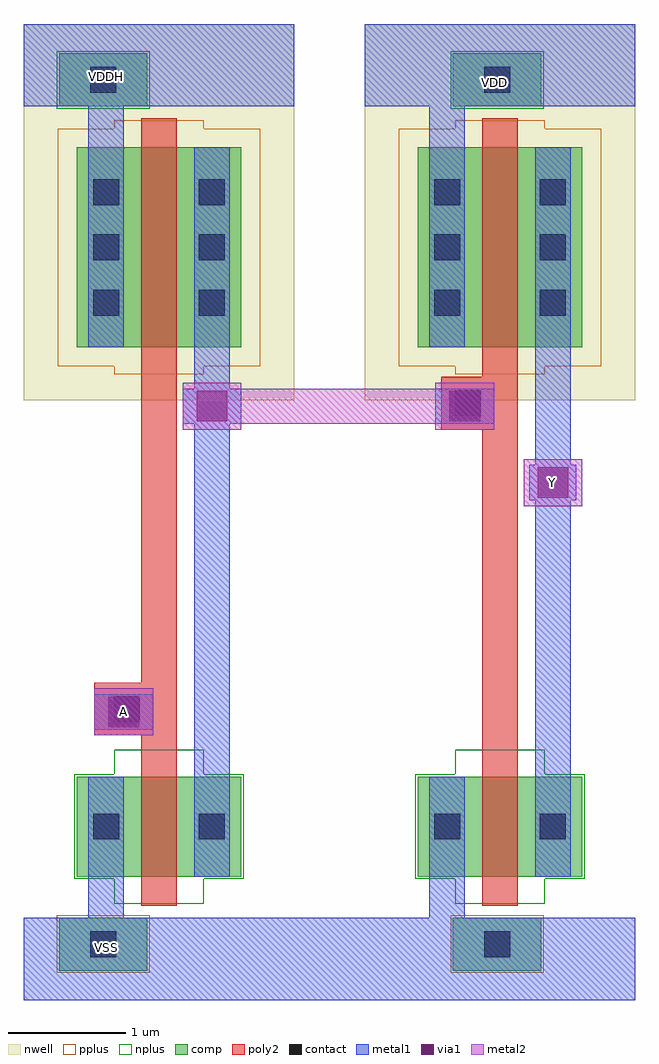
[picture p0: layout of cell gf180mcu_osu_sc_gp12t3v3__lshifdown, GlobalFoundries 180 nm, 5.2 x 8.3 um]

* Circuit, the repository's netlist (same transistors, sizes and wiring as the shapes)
* Copyright 2022 Google LLC
*
* Licensed under the Apache License, Version 2.0 (the "License");
* you may not use this file except in compliance with the License.
* You may obtain a copy of the License at
*
*      http://www.apache.org/licenses/LICENSE-2.0
*
* Unless required by applicable law or agreed to in writing, software
* distributed under the License is distributed on an "AS IS" BASIS,
* WITHOUT WARRANTIES OR CONDITIONS OF ANY KIND, either express or implied.
* See the License for the specific language governing permissions and
* limitations under the License.

* NGSPICE file created from gf180mcu_osu_sc_gp12t3v3__lshifdown.ext - technology: gf180mcuC

.subckt gf180mcu_osu_sc_gp12t3v3__lshifdown A Y VDDH VDD VSS
X0 a_26_21# A VDDH VDDH pfet_03p3 w=1.7u l=0.3u
X1 Y a_26_21# VSS VSS nfet_03p3 w=0.85u l=0.3u
X2 Y a_26_21# VDD VDD pfet_03p3 w=1.7u l=0.3u
X3 a_26_21# A VSS VSS nfet_03p3 w=0.85u l=0.3u
.ends

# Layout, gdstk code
import gdstk
lib = gdstk.Library(unit=1e-6, precision=1e-09)
def R(c, l, rs):  # rectangles x0, y0, x1, y1
    for r in rs: c.add(gdstk.rectangle(r[:2], r[2:], *l))
def A(c, l, x, y, w, h, nx, ny, dx, dy):  # array of equal rectangles
    R(c, l, [(x+i*dx, y+j*dy, x+i*dx+w, y+j*dy+h) for i in range(nx) for j in range(ny)])
nwell = (21, 0)
comp = (22, 0)
poly2 = (30, 0)
pplus = (31, 0)
nplus = (32, 0)
contact = (33, 0)
metal1 = (34, 0)
via1 = (35, 0)
metal2 = (36, 0)

gf180mcu_osu_sc_gp12t3v3 = lib.new_cell('gf180mcu_osu_sc_gp12t3v3__lshifdown')
R(gf180mcu_osu_sc_gp12t3v3, nwell, [(0,5.1,2.3,8.3), (2.9,5.1,5.2,8.3)])
R(gf180mcu_osu_sc_gp12t3v3, comp, [(0.3,0.25,1.05,0.7), (3.65,0.25,4.4,0.7), (0.45,1.05,1.85,1.9), (3.35,1.05,4.75,1.9), (0.45,5.55,1.85,7.25), (3.35,5.55,4.75,7.25), (0.3,7.6,1.05,8.05), (3.65,7.6,4.4,8.05)])
R(gf180mcu_osu_sc_gp12t3v3, poly2, [(1,0.8,1.3,2.25), (3.9,0.8,4.2,4.85), (0.6,2.25,1.3,2.7), (1,2.7,1.3,7.5), (3.55,4.85,4.2,5.3), (3.9,5.3,4.2,7.5)])
R(gf180mcu_osu_sc_gp12t3v3, pplus, [(0.28,0.23,1.07,0.72), (3.63,0.23,4.42,0.72), (0.77,5.32,1.53,5.39), (3.67,5.32,4.43,5.39), (0.29,5.39,2.01,7.41), (3.19,5.39,4.91,7.41), (0.77,7.41,1.53,7.48), (3.67,7.41,4.43,7.48)])
R(gf180mcu_osu_sc_gp12t3v3, nplus, [(0.77,0.82,1.53,1.03), (3.67,0.82,4.43,1.03), (0.43,1.03,1.87,1.92), (3.33,1.03,4.77,1.92), (0.77,1.92,1.53,2.13), (3.67,1.92,4.43,2.13), (0.28,7.58,1.07,8.07), (3.63,7.58,4.42,8.07)])
A(gf180mcu_osu_sc_gp12t3v3, contact, 0.59, 5.82, 0.22, 0.22, 1, 3, 0, 0.47)
A(gf180mcu_osu_sc_gp12t3v3, contact, 1.49, 5.82, 0.22, 0.22, 1, 3, 0, 0.47)
A(gf180mcu_osu_sc_gp12t3v3, contact, 3.49, 5.82, 0.22, 0.22, 1, 3, 0, 0.47)
A(gf180mcu_osu_sc_gp12t3v3, contact, 4.39, 5.82, 0.22, 0.22, 1, 3, 0, 0.47)
R(gf180mcu_osu_sc_gp12t3v3, contact, [(0.565,0.365,0.785,0.585), (3.915,0.365,4.135,0.585), (0.59,1.365,0.81,1.585), (1.49,1.365,1.71,1.585), (3.49,1.365,3.71,1.585), (4.39,1.365,4.61,1.585), (0.765,2.365,0.985,2.585), (3.665,4.965,3.885,5.185), (0.565,7.715,0.785,7.935), (3.915,7.715,4.135,7.935)])
R(gf180mcu_osu_sc_gp12t3v3, metal1, [(0,0,5.2,0.7), (0.55,0.7,0.85,1.9), (3.45,0.7,3.75,1.9), (1.45,1.05,1.75,4.9), (4.35,1.05,4.65,4.25), (0.6,2.3,1.1,2.6), (4.3,4.25,4.7,4.55), (4.35,4.55,4.65,7.25), (1.35,4.9,1.85,5.2), (3.5,4.9,4,5.2), (1.45,5.2,1.75,7.25), (0.55,5.55,0.85,7.6), (3.45,5.55,3.75,7.6), (0,7.6,2.3,8.3), (2.9,7.6,5.2,8.3)])
R(gf180mcu_osu_sc_gp12t3v3, via1, [(0.72,2.32,0.98,2.58), (4.37,4.27,4.63,4.53), (1.47,4.92,1.73,5.18), (3.62,4.92,3.88,5.18)])
R(gf180mcu_osu_sc_gp12t3v3, metal2, [(0.6,2.25,1.1,2.65), (4.25,4.2,4.75,4.6), (1.35,4.85,1.85,4.9), (3.5,4.85,4,4.9), (1.35,4.9,4,5.2), (1.35,5.2,1.85,5.25), (3.5,5.2,4,5.25)])
gf180mcu_osu_sc_gp12t3v3.add(gdstk.Label('A', (0.85,2.45), layer=36, texttype=10))
gf180mcu_osu_sc_gp12t3v3.add(gdstk.Label('Y', (4.5,4.4), layer=36, texttype=10))
gf180mcu_osu_sc_gp12t3v3.add(gdstk.Label('VDDH', (0.7,7.85), layer=34, texttype=10))
gf180mcu_osu_sc_gp12t3v3.add(gdstk.Label('VDD', (4,7.8), layer=34, texttype=10))
gf180mcu_osu_sc_gp12t3v3.add(gdstk.Label('VSS', (0.7,0.45), layer=34, texttype=10))

lib.write_gds('gf180mcu_osu_sc_gp12t3v3__lshifdown.gds')
